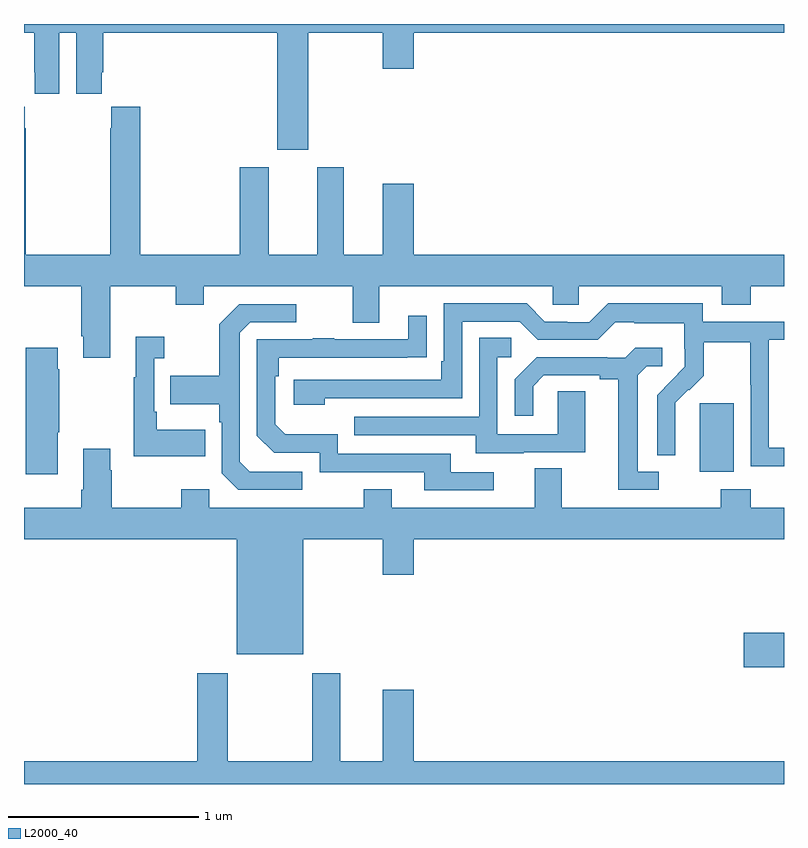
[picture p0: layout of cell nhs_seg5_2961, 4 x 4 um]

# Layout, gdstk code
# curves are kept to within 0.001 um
import gdstk
lib = gdstk.Library(unit=1e-6, precision=1e-09)
def R(c, l, rs):  # rectangles x0, y0, x1, y1
    for r in rs: c.add(gdstk.rectangle(r[:2], r[2:], *l))
def P(c, l, *ps):  # polygons
    for p in ps: c.add(gdstk.Polygon(p, *l))
L2000_40 = (2000, 40)

nhs_seg5_2961 = lib.new_cell('nhs_seg5_2961')
R(nhs_seg5_2961, L2000_40, [(286.788,861.413,287,861.596), (286.556,862.442,286.735,862.803)])
P(nhs_seg5_2961, L2000_40, [(284.497,864.752),(284.888,864.752),(284.888,864.564),(285.052,864.564),(285.052,864.752),(287,864.752),(287,864.799),(283,864.799),(283,864.752),(283.055,864.752),(283.055,864.544),(283.056,864.544),(283.056,864.432),(283.186,864.432),(283.186,864.752),(283.274,864.752),(283.274,864.432),(283.408,864.432),(283.408,864.544),(283.418,864.544),(283.418,864.752),(284.333,864.752),(284.333,864.138),(284.497,864.138)],
  [(285.052,863.959),(284.888,863.959),(284.888,863.584),(284.683,863.584),(284.683,864.046),(284.543,864.046),(284.543,863.584),(284.287,863.584),(284.287,864.046),(284.135,864.046),(284.135,863.584),(283.613,863.584),(283.613,864.364),(283.459,864.364),(283.459,864.251),(283.453,864.251),(283.453,863.584),(283.008,863.584),(283.008,864.251),(283.005,864.251),(283.005,864.364),(283,864.364),(283,863.42),(283.301,863.42),(283.301,863.155),(283.313,863.155),(283.313,863.043),(283.453,863.043),(283.453,863.42),(283.798,863.42),(283.798,863.321),(283.945,863.321),(283.945,863.42),(284.729,863.42),(284.729,863.226),(284.869,863.226),(284.869,863.42),(285.783,863.42),(285.783,863.322),(285.921,863.322),(285.921,863.42),(286.673,863.42),(286.673,863.321),(286.826,863.321),(286.826,863.42),(287,863.42),(287,863.584),(285.052,863.584)],
  [(287,862.569),(286.92,862.569),(286.92,863.136),(287,863.136),(287,863.232),(286.572,863.232),(286.572,863.329),(286.075,863.329),(285.975,863.229),(285.86,863.229),(285.86,863.232),(285.741,863.232),(285.645,863.328),(285.21,863.328),(285.21,863.023),(285.197,863.023),(285.197,862.926),(284.421,862.926),(284.421,862.796),(284.582,862.796),(284.582,862.83),(285.306,862.83),(285.306,863.232),(285.609,863.232),(285.705,863.136),(286.02,863.136),(286.113,863.229),(286.213,863.229),(286.213,863.225),(286.476,863.225),(286.476,863.091),(286.478,863.091),(286.478,862.994),(286.332,862.846),(286.332,862.528),(286.428,862.528),(286.427,862.805),(286.497,862.875),(286.5,862.872),(286.577,862.949),(286.577,863.124),(286.822,863.124),(286.822,862.9),(286.824,862.9),(286.824,862.471),(287,862.471)],
  [(284.464,862.443),(284.187,862.443),(284.136,862.494),(284.136,863.175),(284.19,863.229),(284.434,863.229),(284.434,863.325),(284.133,863.325),(284.028,863.219),(284.028,862.947),(283.771,862.947),(283.771,862.799),(284.028,862.799),(284.028,862.703),(284.04,862.703),(284.04,862.434),(284.127,862.347),(284.464,862.347)],
  [(285.472,862.44),(285.247,862.44),(285.247,862.536),(284.652,862.536),(284.652,862.639),(284.375,862.639),(284.322,862.692),(284.322,862.946),(284.342,862.946),(284.342,863.043),(285.119,863.044),(285.119,863.263),(285.023,863.263),(285.023,863.139),(284.633,863.139),(284.633,863.144),(284.521,863.144),(284.521,863.139),(284.226,863.139),(284.226,862.632),(284.316,862.542),(284.556,862.542),(284.556,862.44),(285.107,862.44),(285.107,862.344),(285.472,862.344)],
  [(283.955,862.663),(283.699,862.663),(283.699,862.759),(283.686,862.759),(283.686,863.039),(283.738,863.039),(283.738,863.152),(283.589,863.152),(283.589,862.939),(283.578,862.939),(283.578,862.523),(283.955,862.523)],
  [(285.631,862.545),(285.955,862.545),(285.955,862.865),(285.81,862.865),(285.81,862.641),(285.492,862.641),(285.492,863.046),(285.565,863.046),(285.565,863.147),(285.396,863.147),(285.396,862.731),(284.737,862.731),(284.737,862.635),(285.377,862.635),(285.377,862.541),(285.631,862.541)],
  [(283.177,862.651),(283.185,862.651),(283.185,862.982),(283.177,862.982),(283.177,863.095),(283.01,863.095),(283.01,862.428),(283.177,862.428)],
  [(286.342,862.443),(286.231,862.443),(286.231,862.951),(286.278,862.998),(286.36,862.998),(286.36,863.095),(286.216,863.095),(286.164,863.043),(286.07,863.043),(286.07,863.046),(285.698,863.046),(285.582,862.93),(285.582,862.737),(285.679,862.737),(285.679,862.893),(285.736,862.95),(286.031,862.95),(286.031,862.928),(286.127,862.928),(286.127,862.347),(286.342,862.347)],
  [(283.453,862.451),(283.453,862.564),(283.313,862.564),(283.313,862.348),(283.301,862.348),(283.301,862.252),(283,862.252),(283,862.088),(284.12,862.088),(284.12,861.482),(284.47,861.482),(284.47,862.088),(284.888,862.088),(284.888,861.9),(285.052,861.9),(285.052,862.088),(287,862.088),(287,862.252),(286.826,862.252),(286.826,862.351),(286.666,862.351),(286.666,862.252),(285.829,862.252),(285.829,862.46),(285.689,862.46),(285.689,862.252),(284.935,862.252),(284.935,862.351),(284.788,862.351),(284.788,862.252),(283.974,862.252),(283.974,862.351),(283.828,862.351),(283.828,862.252),(283.461,862.252),(283.461,862.451)],
  [(287,860.92),(285.052,860.92),(285.052,861.295),(284.888,861.295),(284.888,860.92),(284.665,860.92),(284.665,861.382),(284.518,861.382),(284.518,860.92),(284.073,860.92),(284.073,861.382),(283.913,861.382),(283.913,860.92),(283,860.92),(283,860.799),(287,860.799)])

lib.write_gds('nhs_seg5_2961.gds')
